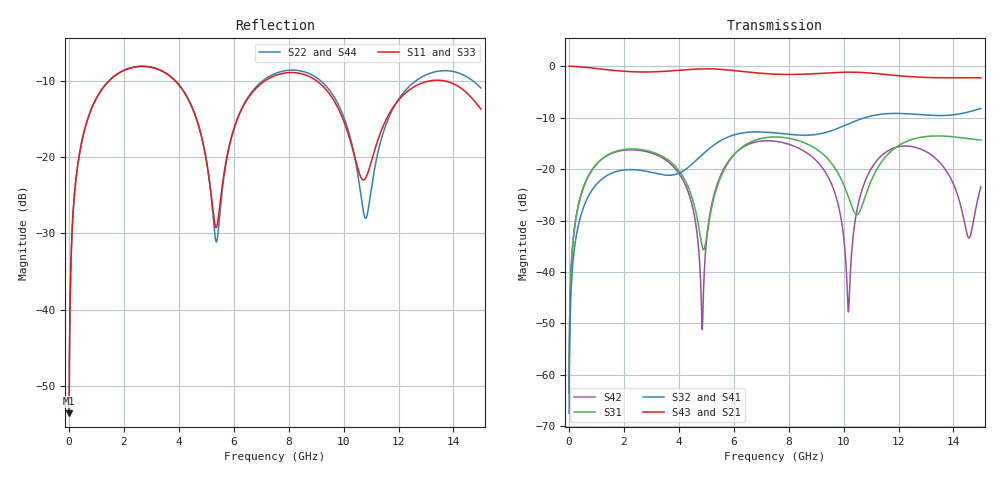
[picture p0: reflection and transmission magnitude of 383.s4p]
! Created with skrf 1.8.0 (http://scikit-rf.org).
# GHz S RI R 50.0
!freq ReS11 ImS11 ReS12 ImS12 ReS13 ImS13
! ReS14 ImS14
! ReS21 ImS21 ReS22 ImS22 ReS23 ImS23
! ReS24 ImS24
! ReS31 ImS31 ReS32 ImS32 ReS33 ImS33
! ReS34 ImS34
! ReS41 ImS41 ReS42 ImS42 ReS43 ImS43
! ReS44 ImS44
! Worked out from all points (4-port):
!   2499 points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, 5 MHz to 15 GHz, reference 50 ohm
!   strongest paths, dB at 5 MHz, 3.476 GHz, 7.19 GHz, 11.1 GHz, 15 GHz:
!     S43: 0.0, -1.0, -1.5, -1.4, -2.3
!     S21: 0.0, -1.0, -1.5, -1.4, -2.3
!     S32: -67.4, -21.1, -12.8, -9.6, -8.2
!     S41: -67.4, -21.2, -12.8, -9.6, -8.2
!     S31: -63.5, -17.8, -13.9, -21.2, -14.4
!     S42: -63.5, -18.1, -14.5, -19.1, -23.5
!   lowest |S11| = -53.6 dB at 5 MHz (marker M1), VSWR 1.00, Z = 50.2 + j0.128 ohm
!   |S11| at or under -10 dB: start of sweep to 1.461 GHz; 3.864 GHz to 7.141 GHz (3.277 GHz wide, 59.5 % of centre); 9.016 GHz to 13.15 GHz (4.138 GHz wide, 37.3 % of centre) (the widest 3 of 4)
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0.005  0.00167 0.00127  0.9983 -0.00326  8.42e-05 0.000664  -8.17e-05 -0.000416
       0.9983 -0.00326  0.00167 0.00127  -8.17e-05 -0.000416  8.41e-05 0.000664
       8.42e-05 0.000664  -8.17e-05 -0.000416  0.00167 0.00127  0.9983 -0.00326
       -8.17e-05 -0.000416  8.41e-05 0.000664  0.9983 -0.00326  0.00167 0.00127
1.569404  0.2793 0.1752  0.528 -0.7419  0.1331 0.055  -0.0915 -0.00276
          0.528 -0.7419  0.2808 0.1742  -0.0915 -0.00273  0.1286 0.0615
          0.1331 0.055  -0.0915 -0.00273  0.2793 0.1753  0.5279 -0.7419
          -0.0915 -0.00276  0.1286 0.0615  0.5279 -0.7419  0.2809 0.1742
4.852022  0.0672 -0.1113  -0.8704 -0.3529  -0.0155 -0.00825  -0.0477 0.1292
          -0.8704 -0.3529  0.0613 -0.1161  -0.0474 0.1293  -0.00265 -0.000772
          -0.0155 -0.00825  -0.0474 0.1293  0.0677 -0.1129  -0.8701 -0.3531
          -0.0477 0.1292  -0.00265 -0.000772  -0.8701 -0.3531  0.0621 -0.1176
8.322218  0.3544 -0.032  0.00174 0.8305  0.1525 -0.1133  0.2028 -0.0685
          0.00174 0.8305  0.3669 -0.0469  0.2027 -0.0695  0.1511 -0.0566
          0.1525 -0.1133  0.2027 -0.0695  0.3529 -0.0324  0.00315 0.8309
          0.2028 -0.0685  0.1511 -0.0566  0.00315 0.8309  0.3657 -0.0478
10.17299  0.1034 -0.096  0.7604 0.4296  -0.0398 -0.0362  0.1278 -0.243
          0.7604 0.4296  0.084 -0.1233  0.1266 -0.2436  -0.00396 -0.00106
          -0.0398 -0.0362  0.1266 -0.2436  0.1014 -0.0954  0.7621 0.427
          0.1278 -0.243  -0.00396 -0.00106  0.7621 0.427  0.0838 -0.1218
11.47353  0.1281 0.1036  0.8016 -0.2252  0.0956 0.0823  -0.1212 -0.3207
          0.8016 -0.2252  0.0971 0.1146  -0.1228 -0.3205  0.0957 0.1044
          0.0956 0.0823  -0.1228 -0.3205  0.1271 0.1053  0.8 -0.229
          -0.1212 -0.3207  0.0957 0.1044  0.8 -0.229  0.1003 0.1156
15  0.1993 -0.0538  -0.476 -0.603  -0.1563 -0.1099  -0.3114 0.2309
    -0.476 -0.603  0.2501 -0.1338  -0.31 0.2328  -0.0484 0.0463
    -0.1563 -0.1099  -0.31 0.2328  0.1978 -0.0554  -0.4816 -0.5983
    -0.3114 0.2309  -0.0484 0.0463  -0.4816 -0.5983  0.2496 -0.1345
